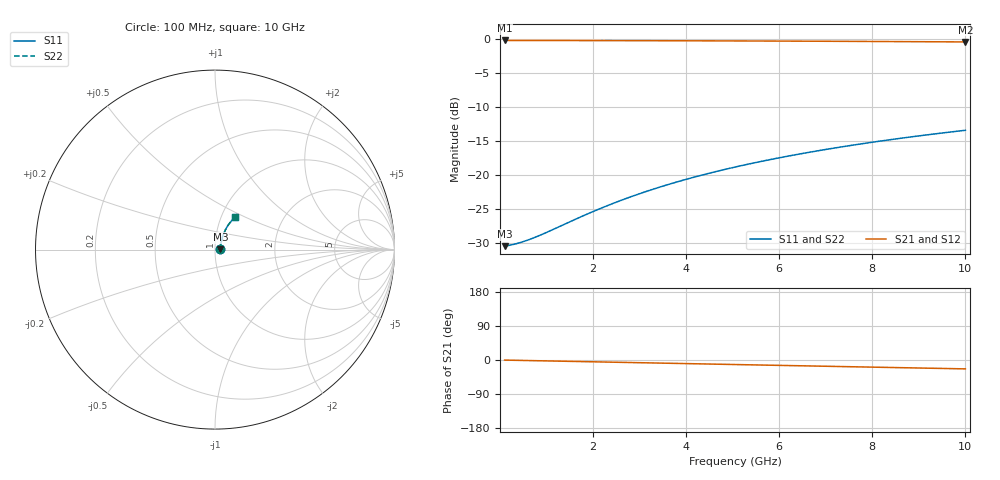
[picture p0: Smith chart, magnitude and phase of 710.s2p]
# Hz S RI R 50.00
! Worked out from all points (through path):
!   100 points, 100 MHz to 10 GHz, reference 50 ohm
!   highest |S21| = -0.26 dB at 100 MHz (marker M1); lowest = -0.5 dB at 10 GHz (marker M2)
!   group delay of S21, straight-line fit = 6.51 ps
!   lowest |S11| = -30.5 dB at 100 MHz (marker M3), VSWR 1.06, Z = 53.1 + j0.221 ohm
!   |S11| at or under -10 dB: start of sweep to end of sweep
!   |S22| runs from -30.5 to -13.4 dB; largest |S21 - S12| = 0
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1e8  0.0299 0.00208  0.9701 -0.00403  0.9701 -0.00403  0.0299 0.00208
3e8  0.0303 0.00623  0.9696 -0.0121  0.9696 -0.0121  0.0303 0.00623
4e8  0.0305 0.0083  0.9695 -0.0161  0.9695 -0.0161  0.0305 0.0083
5e8  0.0307 0.0104  0.9693 -0.0201  0.9693 -0.0201  0.0307 0.0104
7e8  0.031 0.0145  0.9689 -0.0282  0.9689 -0.0282  0.031 0.0145
1e9  0.0317 0.0207  0.9681 -0.0402  0.9681 -0.0402  0.0317 0.0207
1.8e9  0.034 0.0371  0.9654 -0.0722  0.9654 -0.0722  0.034 0.0371
2.2e9  0.0355 0.0452  0.9635 -0.0881  0.9635 -0.0881  0.0355 0.0452
2.6e9  0.0373 0.0533  0.9614 -0.104  0.9614 -0.104  0.0373 0.0533
3e9  0.0393 0.0613  0.9589 -0.1198  0.9589 -0.1198  0.0393 0.0613
3.4e9  0.0416 0.0692  0.9562 -0.1355  0.9562 -0.1355  0.0416 0.0692
3.8e9  0.0441 0.077  0.9531 -0.1512  0.9531 -0.1512  0.0441 0.077
4.2e9  0.0469 0.0848  0.9497 -0.1667  0.9497 -0.1667  0.0469 0.0848
4.6e9  0.0499 0.0924  0.9459 -0.1821  0.9459 -0.1821  0.0499 0.0924
5.1e9  0.054 0.1017  0.9409 -0.2012  0.9409 -0.2012  0.054 0.1017
5.5e9  0.0576 0.1091  0.9365 -0.2164  0.9365 -0.2164  0.0576 0.1091
5.9e9  0.0614 0.1163  0.9318 -0.2314  0.9318 -0.2314  0.0614 0.1163
6.7e9  0.0696 0.1303  0.9215 -0.261  0.9215 -0.261  0.0696 0.1303
7.5e9  0.0788 0.1436  0.9102 -0.29  0.9102 -0.29  0.0788 0.1436
8.4e9  0.09 0.1578  0.8962 -0.3218  0.8962 -0.3218  0.09 0.1578
9.2e9  0.1007 0.1696  0.8827 -0.3493  0.8827 -0.3493  0.1007 0.1696
1e10  0.1121 0.1806  0.8682 -0.3759  0.8682 -0.3759  0.1121 0.1806
